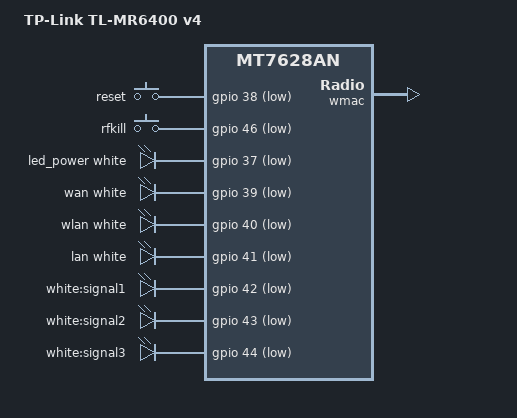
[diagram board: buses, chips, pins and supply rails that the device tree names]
// SPDX-License-Identifier: GPL-2.0-or-later OR MIT

#include <dt-bindings/leds/common.h>

#include "mt7628an_tplink_8m.dtsi"

/ {
	compatible = "tplink,tl-mr6400-v4", "mediatek,mt7628an-soc";
	model = "TP-Link TL-MR6400 v4";

	aliases {
		led-boot = &led_power;
		led-failsafe = &led_power;
		led-running = &led_power;
		led-upgrade = &led_power;
	};

	keys {
		compatible = "gpio-keys";

		reset {
			label = "reset";
			gpios = <&gpio 38 GPIO_ACTIVE_LOW>;
			linux,code = <KEY_RESTART>;
		};

		rfkill {
			label = "rfkill";
			gpios = <&gpio 46 GPIO_ACTIVE_LOW>;
			linux,code = <KEY_RFKILL>;
		};
	};

	leds {
		compatible = "gpio-leds";

		led_power: power {
			function = LED_FUNCTION_POWER;
			color = <LED_COLOR_ID_WHITE>;
			gpios = <&gpio 37 GPIO_ACTIVE_LOW>;
		};

		wan {
			function = LED_FUNCTION_WAN;
			color = <LED_COLOR_ID_WHITE>;
			gpios = <&gpio 39 GPIO_ACTIVE_LOW>;
		};

		wlan {
			function = LED_FUNCTION_WLAN;
			color = <LED_COLOR_ID_WHITE>;
			gpios = <&gpio 40 GPIO_ACTIVE_LOW>;
			linux,default-trigger = "phy0tpt";
		};

		lan {
			function = LED_FUNCTION_LAN;
			color = <LED_COLOR_ID_WHITE>;
			gpios = <&gpio 41 GPIO_ACTIVE_LOW>;
		};

		signal1 {
			label = "white:signal1";
			gpios = <&gpio 42 GPIO_ACTIVE_LOW>;
		};

		signal2 {
			label = "white:signal2";
			gpios = <&gpio 43 GPIO_ACTIVE_LOW>;
		};

		signal3 {
			label = "white:signal3";
			gpios = <&gpio 44 GPIO_ACTIVE_LOW>;
		};
	};
};

&state_default {
	gpio {
		groups = "p0led_an", "p1led_an", "p2led_an", "p3led_an", "p4led_an", "refclk", "uart1", "wdt", "wled_an";
		function = "gpio";
	};
};

&esw {
	mediatek,portmap = <0x2f>;
	mediatek,portdisable = <0x21>;
};

&wmac {
	status = "okay";

	nvmem-cells = <&eeprom_factory_20000>, <&macaddr_factory_1f100 0>;
	nvmem-cell-names = "eeprom", "mac-address";
};

&ethernet {
	nvmem-cells = <&macaddr_factory_1f100 0>;
	nvmem-cell-names = "mac-address";
};

&factory {
	nvmem-layout {
		compatible = "fixed-layout";
		#address-cells = <1>;
		#size-cells = <1>;

		macaddr_factory_1f100: macaddr@1f100 {
			compatible = "mac-base";
			reg = <0x1f100 0x6>;
			#nvmem-cell-cells = <1>;
		};
	};
};
